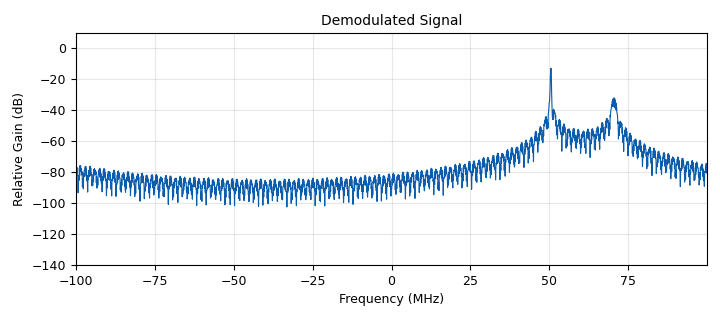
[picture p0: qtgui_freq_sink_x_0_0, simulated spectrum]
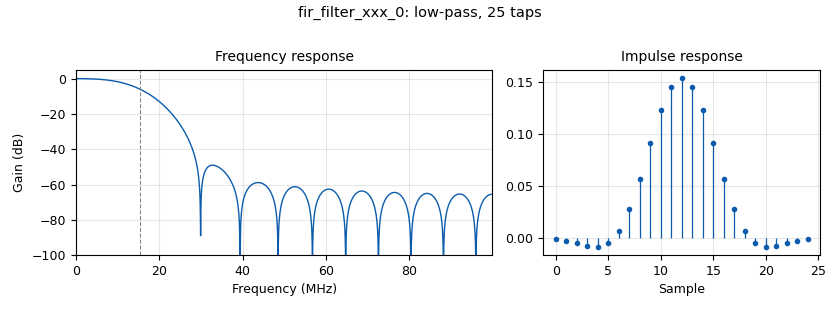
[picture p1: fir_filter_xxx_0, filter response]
options:
  parameters:
    author: Ben Cometto
    generate_options: qt_gui
    id: fmcw_sim
    output_language: python
    title: LFMCW Radar Simulation
  states: {}

blocks:
- name: alpha
  id: variable
  parameters:
    value: (max_freq-min_freq)/t_chirp
  states: {}
- name: c
  id: variable
  parameters:
    value: '300000000'
  states: {}
- name: dec_lpf_taps
  id: variable_low_pass_filter_taps
  parameters:
    cutoff_freq: int(samp_rate/decimation)
    gain: '1.0'
    samp_rate: samp_rate
    width: samp_rate*0.1
    win: window.WIN_HAMMING
  states: {}
- name: decimation
  id: variable
  parameters:
    value: round(samp_rate/max_fbeat)
  states: {}
- name: delay_samples
  id: variable
  parameters:
    value: int(delay_time*samp_rate)
  states: {}
- name: delay_time
  id: variable
  parameters:
    value: 2*distance_m/c
  states: {}
- name: df
  id: variable
  parameters:
    value: samp_rate/k_bins
  states: {}
- name: distance_m
  id: variable
  parameters:
    value: '100'
  states: {state: disabled}
- name: distance_m
  id: variable_qtgui_range
  parameters:
    label: Object Distance
    start: '0'
    step: '0.25'
    stop: distance_max_m
    value: '100'
  states: {}
- name: distance_max_m
  id: variable
  parameters:
    value: '200'
  states: {}
- name: distance_per_sample
  id: variable
  parameters:
    value: c/samp_rate
  states: {}
- name: f_b_ideal
  id: variable
  parameters:
    value: 2*distance_m*alpha/c
  states: {}
- name: k_bins
  id: variable
  parameters:
    value: 2**14
  states: {}
- name: max_distance
  id: variable
  parameters:
    value: min(30,t_chirp*c)
  states: {}
- name: max_fbeat
  id: variable
  parameters:
    value: max_distance*2*alpha/c
  states: {}
- name: max_freq
  id: variable
  parameters:
    value: samp_rate*0.95
  states: {}
- name: min_freq
  id: variable
  parameters:
    value: '-max_freq'
  states: {}
- name: reflection_amplitude
  id: variable
  parameters:
    value: '0.75'
  states: {}
- name: samp_rate
  id: variable
  parameters:
    value: int(200e6)
  states: {}
- name: t_chirp
  id: variable
  parameters:
    value: '0.000005'
  states: {}
- name: analog_sig_source_x_0
  id: analog_sig_source_x
  parameters:
    amp: '1'
    freq: 1/t_chirp
    offset: '0'
    phase: '0'
    samp_rate: samp_rate
    type: float
    waveform: analog.GR_SAW_WAVE
  states: {}
- name: analog_sig_source_x_1
  id: analog_sig_source_x
  parameters:
    amp: '1'
    freq: '10000'
    offset: '0'
    phase: '0'
    samp_rate: samp_rate
    type: complex
    waveform: analog.GR_COS_WAVE
  states: {state: disabled}
- name: blocks_add_const_vxx_0
  id: blocks_add_const_vxx
  parameters:
    const: min_freq
    type: float
  states: {}
- name: blocks_argmax_xx_1
  id: blocks_argmax_xx
  parameters:
    num_inputs: '1'
    type: float
    vlen: k_bins
  states: {state: disabled}
- name: blocks_complex_to_mag_squared_0
  id: blocks_complex_to_mag_squared
  parameters:
    vlen: k_bins
  states: {state: disabled}
- name: blocks_delay_0
  id: blocks_delay
  parameters:
    delay: delay_samples
    type: complex
  states: {}
- name: blocks_multiply_conjugate_cc_0
  id: blocks_multiply_conjugate_cc
  parameters: {}
  states: {}
- name: blocks_multiply_const_vxx_0
  id: blocks_multiply_const_vxx
  parameters:
    const: (max_freq-min_freq)
    type: float
  states: {}
- name: blocks_multiply_const_vxx_1
  id: blocks_multiply_const_vxx
  parameters:
    const: 1*df
    type: float
  states: {state: disabled}
- name: blocks_multiply_const_vxx_1_0
  id: blocks_multiply_const_vxx
  parameters:
    const: c/2/alpha
    type: float
  states: {state: disabled}
- name: blocks_multiply_const_vxx_2
  id: blocks_multiply_const_vxx
  parameters:
    const: reflection_amplitude
    type: complex
  states: {}
- name: blocks_null_sink_0
  id: blocks_null_sink
  parameters:
    type: short
  states: {state: disabled}
- name: blocks_short_to_float_0
  id: blocks_short_to_float
  parameters:
    scale: '1'
  states: {state: disabled}
- name: blocks_stream_to_vector_0_0
  id: blocks_stream_to_vector
  parameters:
    num_items: k_bins
    type: complex
  states: {state: disabled}
- name: blocks_throttle2_0
  id: blocks_throttle2
  parameters:
    samples_per_second: samp_rate
    type: float
  states: {}
- name: blocks_vco_c_0
  id: blocks_vco_c
  parameters:
    amplitude: '1'
    samp_rate: samp_rate
    sensitivity: 2*np.pi
  states: {}
- name: fft_vxx_0_0
  id: fft_vxx
  parameters:
    fft_size: k_bins
    forward: 'True'
    nthreads: '2'
    shift: 'False'
    type: complex
    window: window.blackmanharris(k_bins)
  states: {state: disabled}
- name: fir_filter_xxx_0
  id: fir_filter_xxx
  parameters:
    decim: decimation
    taps: dec_lpf_taps
    type: ccc
  states: {}
- name: import_0
  id: import
  parameters:
    imports: import numpy as np
  states: {}
- name: qtgui_freq_sink_x_0
  id: qtgui_freq_sink_x
  parameters:
    bw: samp_rate
    ctrlpanel: 'True'
    fc: '0'
    fftsize: '1024'
    type: complex
  states: {state: disabled}
- name: qtgui_freq_sink_x_0_0
  id: qtgui_freq_sink_x
  parameters:
    bw: samp_rate
    fc: '0'
    fftsize: '2048'
    name: '"Demodulated Signal"'
    type: complex
  states: {}
- name: qtgui_number_sink_0
  id: qtgui_number_sink
  parameters:
    graph_type: qtgui.NUM_GRAPH_VERT
    max: samp_rate/2
    min: '0'
    name: '"beat frequency"'
    type: float
  states: {state: disabled}
- name: qtgui_number_sink_0_0
  id: qtgui_number_sink
  parameters:
    graph_type: qtgui.NUM_GRAPH_HORIZ
    max: distance_max_m
    min: '0'
    name: '"object distance"'
    type: float
  states: {state: disabled}
- name: qtgui_number_sink_0_1_0
  id: qtgui_number_sink
  parameters:
    graph_type: qtgui.NUM_GRAPH_VERT
    max: k_bins/2
    min: '0'
    name: '"sample"'
    type: float
  states: {state: disabled}
- name: qtgui_time_sink_x_0
  id: qtgui_time_sink_x
  parameters:
    ctrlpanel: 'True'
    size: samp_rate*2
    srate: samp_rate
    type: complex
  states: {state: disabled}
- name: qtgui_time_sink_x_0_0
  id: qtgui_time_sink_x
  parameters:
    size: samp_rate
    srate: samp_rate
    type: complex
  states: {state: disabled}
- name: qtgui_time_sink_x_0_1
  id: qtgui_time_sink_x
  parameters:
    ctrlpanel: 'True'
    name: '"Desired Frequency"'
    size: samp_rate*2
    srate: samp_rate
    type: float
    ylabel: '"f"'
    ymin: '0'
    yunit: '"t"'
  states: {state: disabled}
- name: qtgui_vector_sink_f_0
  id: qtgui_vector_sink_f
  parameters:
    autoscale: 'True'
    grid: 'True'
    vlen: k_bins
    x_axis_label: '"Freq"'
    x_start: '0'
    x_step: 1*df
  states: {state: disabled}
- name: qtgui_vector_sink_f_0_0
  id: qtgui_vector_sink_f
  parameters:
    autoscale: 'True'
    grid: 'True'
    name: '"By Sample"'
    vlen: k_bins
    x_axis_label: '"k"'
    x_start: '0'
    x_step: '1'
  states: {state: disabled}
- name: virtual_sink_0
  id: virtual_sink
  parameters:
    stream_id: tx
  states: {}
- name: virtual_sink_0_0
  id: virtual_sink
  parameters:
    stream_id: beat_data
  states: {state: disabled}
- name: virtual_source_0
  id: virtual_source
  parameters:
    stream_id: tx
  states: {}
- name: virtual_source_0_0
  id: virtual_source
  parameters:
    stream_id: beat_data
  states: {state: disabled}
- name: zeromq_pub_sink_0
  id: zeromq_pub_sink
  parameters:
    address: tcp://localhost:4444
    timeout: '100'
    type: complex
  states: {}
- name: zeromq_push_sink_0
  id: zeromq_push_sink
  parameters:
    address: tcp://localhost:4444
    timeout: '100'
    type: complex
  states: {state: disabled}

connections:
- [analog_sig_source_x_0, '0', blocks_throttle2_0, '0']
- [analog_sig_source_x_1, '0', blocks_stream_to_vector_0_0, '0']
- [blocks_add_const_vxx_0, '0', blocks_vco_c_0, '0']
- [blocks_argmax_xx_1, '0', virtual_sink_0_0, '0']
- [blocks_argmax_xx_1, '1', blocks_null_sink_0, '0']
- [blocks_complex_to_mag_squared_0, '0', blocks_argmax_xx_1, '0']
- [blocks_complex_to_mag_squared_0, '0', qtgui_vector_sink_f_0, '0']
- [blocks_complex_to_mag_squared_0, '0', qtgui_vector_sink_f_0_0, '0']
- [blocks_delay_0, '0', blocks_multiply_const_vxx_2, '0']
- [blocks_multiply_conjugate_cc_0, '0', blocks_stream_to_vector_0_0, '0']
- [blocks_multiply_conjugate_cc_0, '0', fir_filter_xxx_0, '0']
- [blocks_multiply_conjugate_cc_0, '0', qtgui_freq_sink_x_0_0, '0']
- [blocks_multiply_conjugate_cc_0, '0', qtgui_time_sink_x_0_0, '0']
- [blocks_multiply_conjugate_cc_0, '0', zeromq_push_sink_0, '0']
- [blocks_multiply_const_vxx_0, '0', blocks_add_const_vxx_0, '0']
- [blocks_multiply_const_vxx_1, '0', blocks_multiply_const_vxx_1_0, '0']
- [blocks_multiply_const_vxx_1, '0', qtgui_number_sink_0, '0']
- [blocks_multiply_const_vxx_1_0, '0', qtgui_number_sink_0_0, '0']
- [blocks_multiply_const_vxx_2, '0', blocks_multiply_conjugate_cc_0, '1']
- [blocks_short_to_float_0, '0', blocks_multiply_const_vxx_1, '0']
- [blocks_short_to_float_0, '0', qtgui_number_sink_0_1_0, '0']
- [blocks_stream_to_vector_0_0, '0', fft_vxx_0_0, '0']
- [blocks_throttle2_0, '0', blocks_multiply_const_vxx_0, '0']
- [blocks_throttle2_0, '0', qtgui_time_sink_x_0_1, '0']
- [blocks_vco_c_0, '0', qtgui_freq_sink_x_0, '0']
- [blocks_vco_c_0, '0', qtgui_time_sink_x_0, '0']
- [blocks_vco_c_0, '0', virtual_sink_0, '0']
- [fft_vxx_0_0, '0', blocks_complex_to_mag_squared_0, '0']
- [fir_filter_xxx_0, '0', zeromq_pub_sink_0, '0']
- [virtual_source_0, '0', blocks_delay_0, '0']
- [virtual_source_0, '0', blocks_multiply_conjugate_cc_0, '0']
- [virtual_source_0_0, '0', blocks_short_to_float_0, '0']

metadata:
  file_format: 1
  grc_version: 3.10.10.0
